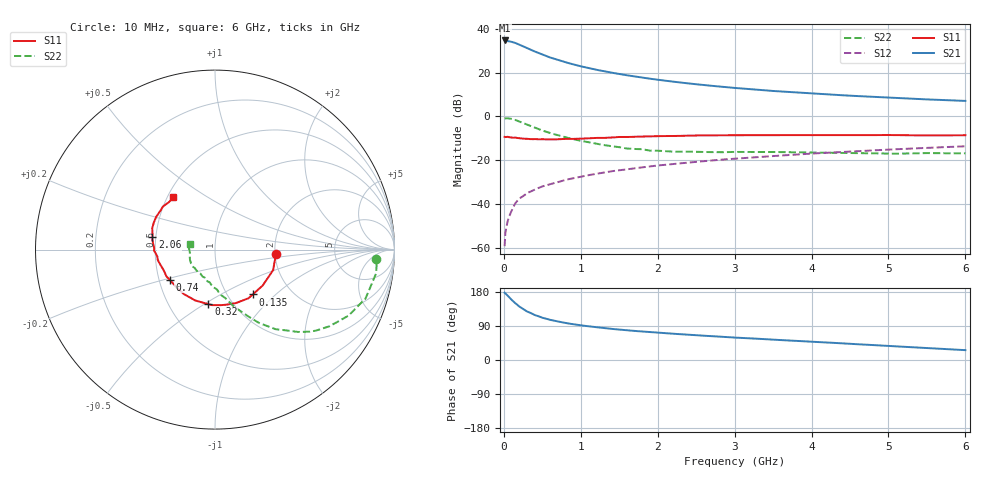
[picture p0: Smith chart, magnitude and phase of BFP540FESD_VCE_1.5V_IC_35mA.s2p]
! Infineon Technologies  Discrete & RF Semiconductors
! BFP540FESD
! VCE =  1.5 V,  IC =  35 mA
! Common Emitter S-Parameters:  Nov 2015
# GHz  S  MA  R  50
!  f  S11  S21  S12  S22
! GHz  MAG  ANG  MAG  ANG  MAG  ANG  MAG  ANG
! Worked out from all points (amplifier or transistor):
!   210 points, 10 MHz to 6 GHz, reference 50 ohm
!   highest |S21| = 34.6 dB at 10 MHz (marker M1)
!   |S21| within 3 dB of that: start of sweep to 271.4 MHz
!   unconditionally stable (mu >= 1): start of sweep to 13.86 MHz; 1.377 GHz to end of sweep
!   at 185 MHz: K = 0.41, MSG = 35.5 dB, |S12| = -38.1 dB
!   at 1.52 GHz: K = 1.02, MAG = 21.0 dB, |S12| = -24.5 dB
!   at 6 GHz: K = 1.16, MAG = 7.9 dB, |S12| = -13.6 dB
!   S11 on the Smith chart (normalised r, x): 10 MHz: 2.03, -0.11; 135 MHz: 1.30, -0.73; 320 MHz: 0.78, -0.52; 740 MHz: 0.57, -0.21; 2.06 GHz: 0.48, +0.08; 6 GHz: 0.54, +0.36
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0.01  0.3412 -3.9  53.98 177.6  0.0011 106.1  0.8994 -3.2
0.02  0.3383 -10.1  52.39 176.0  0.0022 97.1  0.9039 -2.3
0.05  0.3437 -19.3  52.53 169.6  0.0041 88.3  0.9075 -8.4
0.1  0.3326 -37.0  50.25 159.0  0.007 83.8  0.8817 -18.0
0.135  0.3266 -49.9  48.1 152.5  0.0094 78.4  0.8437 -23.7
0.15  0.3292 -55.4  47.37 149.6  0.0105 76.9  0.8301 -26.3
0.2  0.3199 -68.8  43.45 141.3  0.0133 72.4  0.7686 -33.7
0.26  0.3113 -83.9  39.02 133.2  0.0157 71.2  0.6996 -40.8
0.3  0.3096 -93.4  36.32 128.2  0.0176 70.7  0.6525 -44.7
0.32  0.3062 -96.9  35.05 126.6  0.0184 69.9  0.6323 -46.1
0.4  0.3041 -111.2  30.34 118.8  0.0214 67.3  0.5563 -52.8
0.5  0.3025 -125.1  25.77 111.6  0.0253 66.5  0.4768 -59.0
0.6  0.3 -135.2  22.12 106.1  0.0285 66.5  0.4173 -63.4
0.74  0.3034 -146.6  18.52 100.2  0.0332 66.8  0.3575 -68.9
1.02  0.3124 -162.4  13.65 91.0  0.0427 66.8  0.2741 -78.4
1.5  0.34 -178.8  9.273 80.3  0.0592 65.1  0.1994 -95.6
2.02  0.3558 169.2  6.787 71.8  0.0766 62.2  0.1646 -115.2
2.06  0.356 168.7  6.656 71.2  0.0779 62.0  0.1627 -116.3
3.1  0.3731 155.1  4.332 58.2  0.1118 55.8  0.1546 -142.9
4.1  0.3739 147.6  3.263 47.2  0.1452 49.3  0.1496 -159.1
5.1  0.3746 139.2  2.64 36.0  0.1785 41.2  0.1415 -175.4
6  0.3724 128.5  2.259 26.0  0.2085 33.3  0.1442 166.5
